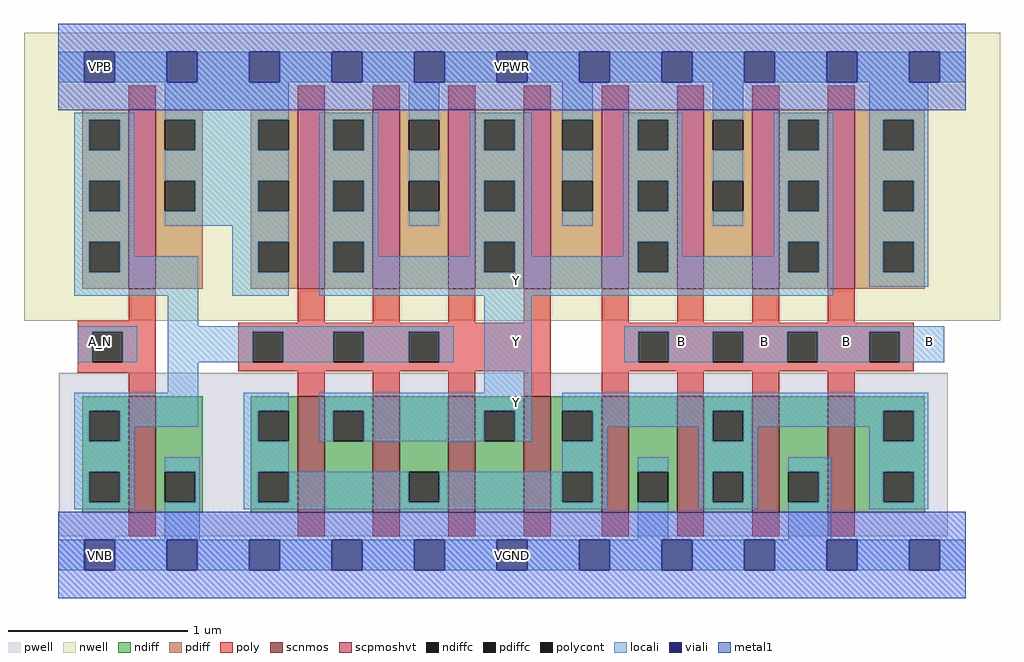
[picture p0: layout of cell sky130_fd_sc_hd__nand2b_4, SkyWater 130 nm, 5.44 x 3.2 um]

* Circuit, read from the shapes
.subckt sky130_fd_sc_hd__nand2b_4 A_N B VGND VNB VPB VPWR Y
XM1 VGND A_N n1 VNB sky130_fd_pr__nfet_01v8 w=0.65 l=0.15
XM2 Y n1 n2 VNB sky130_fd_pr__nfet_01v8 w=0.65 l=0.15 m=4
XM3 VGND B n2 VNB sky130_fd_pr__nfet_01v8 w=0.65 l=0.15 m=4
XM4 VPWR A_N n1 VPB sky130_fd_pr__pfet_01v8_hvt w=1 l=0.15
XM5 Y n1 VPWR VPB sky130_fd_pr__pfet_01v8_hvt w=1 l=0.15 m=4
XM6 Y B VPWR VPB sky130_fd_pr__pfet_01v8_hvt w=1 l=0.15 m=4
.ends

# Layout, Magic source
magic
tech sky130A
magscale 1 2
<< nwell >>
rect -38 261 1050 582
<< pwell >>
rect 1 21 992 203
rect 30 -17 64 21
<< scnmos >>
rect 79 47 109 177
rect 267 47 297 177
rect 351 47 381 177
rect 435 47 465 177
rect 519 47 549 177
rect 606 47 636 177
rect 690 47 720 177
rect 774 47 804 177
rect 858 47 888 177
<< scpmoshvt >>
rect 79 297 109 497
rect 267 297 297 497
rect 351 297 381 497
rect 435 297 465 497
rect 519 297 549 497
rect 606 297 636 497
rect 690 297 720 497
rect 774 297 804 497
rect 858 297 888 497
<< ndiff >>
rect 27 161 79 177
rect 27 127 35 161
rect 69 127 79 161
rect 27 93 79 127
rect 27 59 35 93
rect 69 59 79 93
rect 27 47 79 59
rect 109 93 161 177
rect 109 59 119 93
rect 153 59 161 93
rect 109 47 161 59
rect 215 161 267 177
rect 215 127 223 161
rect 257 127 267 161
rect 215 93 267 127
rect 215 59 223 93
rect 257 59 267 93
rect 215 47 267 59
rect 297 161 351 177
rect 297 127 307 161
rect 341 127 351 161
rect 297 47 351 127
rect 381 93 435 177
rect 381 59 391 93
rect 425 59 435 93
rect 381 47 435 59
rect 465 161 519 177
rect 465 127 475 161
rect 509 127 519 161
rect 465 47 519 127
rect 549 161 606 177
rect 549 127 562 161
rect 596 127 606 161
rect 549 93 606 127
rect 549 59 562 93
rect 596 59 606 93
rect 549 47 606 59
rect 636 93 690 177
rect 636 59 646 93
rect 680 59 690 93
rect 636 47 690 59
rect 720 161 774 177
rect 720 127 730 161
rect 764 127 774 161
rect 720 93 774 127
rect 720 59 730 93
rect 764 59 774 93
rect 720 47 774 59
rect 804 93 858 177
rect 804 59 814 93
rect 848 59 858 93
rect 804 47 858 59
rect 888 161 966 177
rect 888 127 920 161
rect 954 127 966 161
rect 888 93 966 127
rect 888 59 920 93
rect 954 59 966 93
rect 888 47 966 59
<< pdiff >>
rect 27 485 79 497
rect 27 451 35 485
rect 69 451 79 485
rect 27 417 79 451
rect 27 383 35 417
rect 69 383 79 417
rect 27 349 79 383
rect 27 315 35 349
rect 69 315 79 349
rect 27 297 79 315
rect 109 485 161 497
rect 109 451 119 485
rect 153 451 161 485
rect 109 417 161 451
rect 109 383 119 417
rect 153 383 161 417
rect 109 297 161 383
rect 215 485 267 497
rect 215 451 223 485
rect 257 451 267 485
rect 215 417 267 451
rect 215 383 223 417
rect 257 383 267 417
rect 215 349 267 383
rect 215 315 223 349
rect 257 315 267 349
rect 215 297 267 315
rect 297 485 351 497
rect 297 451 307 485
rect 341 451 351 485
rect 297 417 351 451
rect 297 383 307 417
rect 341 383 351 417
rect 297 349 351 383
rect 297 315 307 349
rect 341 315 351 349
rect 297 297 351 315
rect 381 485 435 497
rect 381 451 391 485
rect 425 451 435 485
rect 381 417 435 451
rect 381 383 391 417
rect 425 383 435 417
rect 381 297 435 383
rect 465 485 519 497
rect 465 451 475 485
rect 509 451 519 485
rect 465 417 519 451
rect 465 383 475 417
rect 509 383 519 417
rect 465 349 519 383
rect 465 315 475 349
rect 509 315 519 349
rect 465 297 519 315
rect 549 485 606 497
rect 549 451 562 485
rect 596 451 606 485
rect 549 417 606 451
rect 549 383 562 417
rect 596 383 606 417
rect 549 297 606 383
rect 636 485 690 497
rect 636 451 646 485
rect 680 451 690 485
rect 636 417 690 451
rect 636 383 646 417
rect 680 383 690 417
rect 636 349 690 383
rect 636 315 646 349
rect 680 315 690 349
rect 636 297 690 315
rect 720 485 774 497
rect 720 451 730 485
rect 764 451 774 485
rect 720 417 774 451
rect 720 383 730 417
rect 764 383 774 417
rect 720 297 774 383
rect 804 485 858 497
rect 804 451 814 485
rect 848 451 858 485
rect 804 417 858 451
rect 804 383 814 417
rect 848 383 858 417
rect 804 349 858 383
rect 804 315 814 349
rect 848 315 858 349
rect 804 297 858 315
rect 888 485 966 497
rect 888 451 920 485
rect 954 451 966 485
rect 888 417 966 451
rect 888 383 920 417
rect 954 383 966 417
rect 888 349 966 383
rect 888 315 920 349
rect 954 315 966 349
rect 888 297 966 315
<< ndiffc >>
rect 35 127 69 161
rect 35 59 69 93
rect 119 59 153 93
rect 223 127 257 161
rect 223 59 257 93
rect 307 127 341 161
rect 391 59 425 93
rect 475 127 509 161
rect 562 127 596 161
rect 562 59 596 93
rect 646 59 680 93
rect 730 127 764 161
rect 730 59 764 93
rect 814 59 848 93
rect 920 127 954 161
rect 920 59 954 93
<< pdiffc >>
rect 35 451 69 485
rect 35 383 69 417
rect 35 315 69 349
rect 119 451 153 485
rect 119 383 153 417
rect 223 451 257 485
rect 223 383 257 417
rect 223 315 257 349
rect 307 451 341 485
rect 307 383 341 417
rect 307 315 341 349
rect 391 451 425 485
rect 391 383 425 417
rect 475 451 509 485
rect 475 383 509 417
rect 475 315 509 349
rect 562 451 596 485
rect 562 383 596 417
rect 646 451 680 485
rect 646 383 680 417
rect 646 315 680 349
rect 730 451 764 485
rect 730 383 764 417
rect 814 451 848 485
rect 814 383 848 417
rect 814 315 848 349
rect 920 451 954 485
rect 920 383 954 417
rect 920 315 954 349
<< poly >>
rect 79 497 109 523
rect 267 497 297 523
rect 351 497 381 523
rect 435 497 465 523
rect 519 497 549 523
rect 606 497 636 523
rect 690 497 720 523
rect 774 497 804 523
rect 858 497 888 523
rect 79 261 109 297
rect 22 249 109 261
rect 267 259 297 297
rect 351 259 381 297
rect 435 259 465 297
rect 519 259 549 297
rect 22 215 38 249
rect 72 215 109 249
rect 22 203 109 215
rect 201 249 549 259
rect 201 215 217 249
rect 251 215 307 249
rect 341 215 391 249
rect 425 215 549 249
rect 201 205 549 215
rect 79 177 109 203
rect 267 177 297 205
rect 351 177 381 205
rect 435 177 465 205
rect 519 177 549 205
rect 606 259 636 297
rect 690 259 720 297
rect 774 259 804 297
rect 858 259 888 297
rect 606 249 954 259
rect 606 215 647 249
rect 681 215 730 249
rect 764 215 813 249
rect 847 215 904 249
rect 938 215 954 249
rect 606 205 954 215
rect 606 177 636 205
rect 690 177 720 205
rect 774 177 804 205
rect 858 177 888 205
rect 79 21 109 47
rect 267 21 297 47
rect 351 21 381 47
rect 435 21 465 47
rect 519 21 549 47
rect 606 21 636 47
rect 690 21 720 47
rect 774 21 804 47
rect 858 21 888 47
<< polycont >>
rect 38 215 72 249
rect 217 215 251 249
rect 307 215 341 249
rect 391 215 425 249
rect 647 215 681 249
rect 730 215 764 249
rect 813 215 847 249
rect 904 215 938 249
<< locali >>
rect 0 527 29 561
rect 63 527 121 561
rect 155 527 213 561
rect 247 527 305 561
rect 339 527 397 561
rect 431 527 489 561
rect 523 527 581 561
rect 615 527 673 561
rect 707 527 765 561
rect 799 527 857 561
rect 891 527 949 561
rect 983 527 1012 561
rect 18 485 85 493
rect 18 451 35 485
rect 69 451 85 485
rect 18 417 85 451
rect 18 383 35 417
rect 69 383 85 417
rect 18 349 85 383
rect 119 485 257 527
rect 153 451 223 485
rect 119 417 257 451
rect 153 383 223 417
rect 119 367 257 383
rect 18 315 35 349
rect 69 333 85 349
rect 194 349 257 367
rect 69 315 156 333
rect 18 289 156 315
rect 194 315 223 349
rect 194 289 257 315
rect 291 485 357 493
rect 291 451 307 485
rect 341 451 357 485
rect 291 417 357 451
rect 291 383 307 417
rect 341 383 357 417
rect 291 349 357 383
rect 391 485 425 527
rect 391 417 425 451
rect 391 367 425 383
rect 459 485 528 493
rect 459 451 475 485
rect 509 451 528 485
rect 459 417 528 451
rect 459 383 475 417
rect 509 383 528 417
rect 291 315 307 349
rect 341 333 357 349
rect 459 349 528 383
rect 562 485 596 527
rect 562 417 596 451
rect 562 367 596 383
rect 630 485 696 493
rect 630 451 646 485
rect 680 451 696 485
rect 630 417 696 451
rect 630 383 646 417
rect 680 383 696 417
rect 459 333 475 349
rect 341 315 475 333
rect 509 333 528 349
rect 630 349 696 383
rect 730 485 764 527
rect 730 417 764 451
rect 730 367 764 383
rect 798 485 864 493
rect 798 451 814 485
rect 848 451 864 485
rect 798 417 864 451
rect 798 383 814 417
rect 848 383 864 417
rect 630 333 646 349
rect 509 315 646 333
rect 680 333 696 349
rect 798 349 864 383
rect 798 333 814 349
rect 680 315 814 333
rect 848 315 864 349
rect 291 289 864 315
rect 904 485 970 527
rect 904 451 920 485
rect 954 451 970 485
rect 904 417 970 451
rect 904 383 920 417
rect 954 383 970 417
rect 904 349 970 383
rect 904 315 920 349
rect 954 315 970 349
rect 904 299 970 315
rect 122 255 156 289
rect 22 249 88 255
rect 22 215 38 249
rect 72 215 88 249
rect 122 249 441 255
rect 122 215 217 249
rect 251 215 307 249
rect 341 215 391 249
rect 425 215 441 249
rect 122 181 156 215
rect 475 181 528 289
rect 631 249 988 255
rect 631 215 647 249
rect 681 215 730 249
rect 764 215 813 249
rect 847 215 904 249
rect 938 215 988 249
rect 18 161 156 181
rect 18 127 35 161
rect 69 143 156 161
rect 207 161 257 181
rect 69 127 85 143
rect 18 93 85 127
rect 207 127 223 161
rect 291 161 528 181
rect 291 127 307 161
rect 341 127 475 161
rect 509 127 528 161
rect 562 161 970 181
rect 596 143 730 161
rect 596 127 612 143
rect 18 59 35 93
rect 69 59 85 93
rect 18 51 85 59
rect 119 93 158 109
rect 153 59 158 93
rect 119 17 158 59
rect 207 93 257 127
rect 562 93 612 127
rect 714 127 730 143
rect 764 143 920 161
rect 764 127 780 143
rect 207 59 223 93
rect 257 59 391 93
rect 425 59 562 93
rect 596 59 612 93
rect 207 51 612 59
rect 646 93 680 109
rect 646 17 680 59
rect 714 93 780 127
rect 904 127 920 143
rect 954 127 970 161
rect 714 59 730 93
rect 764 59 780 93
rect 714 51 780 59
rect 814 93 862 109
rect 848 59 862 93
rect 814 17 862 59
rect 904 93 970 127
rect 904 59 920 93
rect 954 59 970 93
rect 904 51 970 59
rect 0 -17 29 17
rect 63 -17 121 17
rect 155 -17 213 17
rect 247 -17 305 17
rect 339 -17 397 17
rect 431 -17 489 17
rect 523 -17 581 17
rect 615 -17 673 17
rect 707 -17 765 17
rect 799 -17 857 17
rect 891 -17 949 17
rect 983 -17 1012 17
<< viali >>
rect 29 527 63 561
rect 121 527 155 561
rect 213 527 247 561
rect 305 527 339 561
rect 397 527 431 561
rect 489 527 523 561
rect 581 527 615 561
rect 673 527 707 561
rect 765 527 799 561
rect 857 527 891 561
rect 949 527 983 561
rect 29 -17 63 17
rect 121 -17 155 17
rect 213 -17 247 17
rect 305 -17 339 17
rect 397 -17 431 17
rect 489 -17 523 17
rect 581 -17 615 17
rect 673 -17 707 17
rect 765 -17 799 17
rect 857 -17 891 17
rect 949 -17 983 17
<< metal1 >>
rect 0 561 1012 592
rect 0 527 29 561
rect 63 527 121 561
rect 155 527 213 561
rect 247 527 305 561
rect 339 527 397 561
rect 431 527 489 561
rect 523 527 581 561
rect 615 527 673 561
rect 707 527 765 561
rect 799 527 857 561
rect 891 527 949 561
rect 983 527 1012 561
rect 0 496 1012 527
rect 0 17 1012 48
rect 0 -17 29 17
rect 63 -17 121 17
rect 155 -17 213 17
rect 247 -17 305 17
rect 339 -17 397 17
rect 431 -17 489 17
rect 523 -17 581 17
rect 615 -17 673 17
rect 707 -17 765 17
rect 799 -17 857 17
rect 891 -17 949 17
rect 983 -17 1012 17
rect 0 -48 1012 -17
<< labels >>
flabel locali s 954 221 988 255 0 FreeSans 250 0 0 0 B
port 2 nsew signal input
flabel locali s 862 221 896 255 0 FreeSans 250 0 0 0 B
port 2 nsew signal input
flabel locali s 770 221 804 255 0 FreeSans 250 0 0 0 B
port 2 nsew signal input
flabel locali s 678 221 712 255 0 FreeSans 250 0 0 0 B
port 2 nsew signal input
flabel locali s 30 221 64 255 0 FreeSans 250 0 0 0 A_N
port 1 nsew signal input
flabel locali s 494 153 528 187 0 FreeSans 250 0 0 0 Y
port 7 nsew signal output
flabel locali s 494 221 528 255 0 FreeSans 250 0 0 0 Y
port 7 nsew signal output
flabel locali s 494 289 528 323 0 FreeSans 250 0 0 0 Y
port 7 nsew signal output
flabel pwell s 30 -17 64 17 0 FreeSans 200 0 0 0 VNB
port 4 nsew ground bidirectional
flabel nwell s 30 527 64 561 0 FreeSans 200 0 0 0 VPB
port 5 nsew power bidirectional
flabel metal1 s 30 -17 64 17 0 FreeSans 200 0 0 0 VGND
port 3 nsew ground bidirectional abutment
flabel metal1 s 30 527 64 561 0 FreeSans 200 0 0 0 VPWR
port 6 nsew power bidirectional abutment
rlabel comment s 0 0 0 0 4 nand2b_4
rlabel metal1 s 0 -48 1012 48 1 VGND
port 3 nsew ground bidirectional abutment
rlabel metal1 s 0 496 1012 592 1 VPWR
port 6 nsew power bidirectional abutment
<< properties >>
string FIXED_BBOX 0 0 1012 544
string GDS_END 1815482
string GDS_FILE $PDKPATH/libs.ref/sky130_fd_sc_hd/gds/sky130_fd_sc_hd.gds
string GDS_START 1806426
string LEFclass CORE
string LEFsite unithd
string LEFsymmetry X Y R90
string path 0.000 0.000 25.300 0.000 
<< end >>
